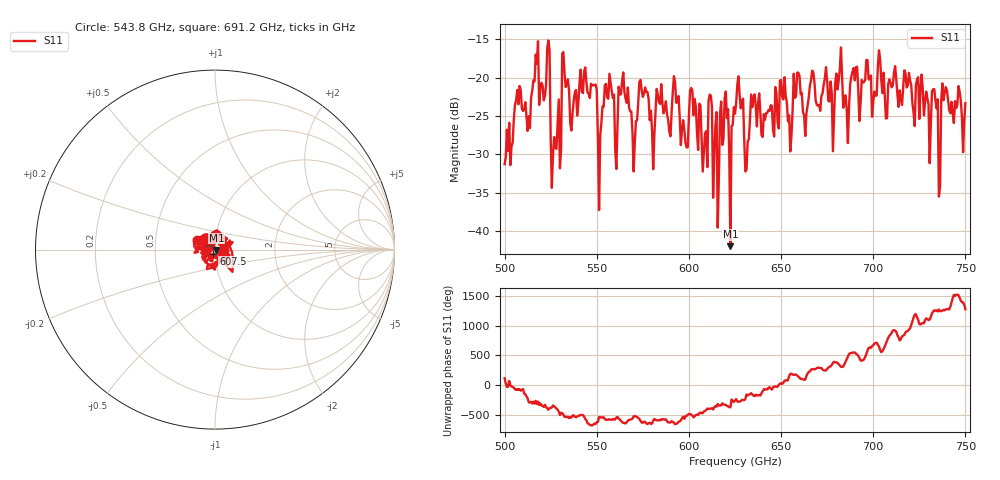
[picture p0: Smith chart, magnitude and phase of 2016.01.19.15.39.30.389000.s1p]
!Created with skrf (http://scikit-rf.org).
# GHz S RI R 50.0
!freq ReS11 ImS11
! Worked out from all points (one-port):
!   401 points, 500 GHz to 750 GHz, reference 50 ohm
!   lowest |S11| = -42.0 dB at 622.5 GHz (marker M1), VSWR 1.02, Z = 50.8 - j0.182 ohm
!   |S11| at or under -10 dB: start of sweep to end of sweep
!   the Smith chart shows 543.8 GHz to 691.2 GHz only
!   S11 on the Smith chart (normalised r, x): 543.8 GHz: 0.81, +0.09; 607.5 GHz: 0.98, -0.05; 691.2 GHz: 0.80, +0.08
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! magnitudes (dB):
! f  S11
! 500 GHz  -31.3
! 516.9 GHz  -17.0
! 523.1 GHz  -16.2
! 526.9 GHz  -27.7
! 531.2 GHz  -16.9
! 543.8 GHz  -18.6
! 551.9 GHz  -27.5
! 555.6 GHz  -22.5
! 562.5 GHz  -22.2
! 570.6 GHz  -28.5
! 574.4 GHz  -21.7
! 580 GHz  -26.8
! 593.8 GHz  -23.1
! 607.5 GHz  -32.2
! 611.2 GHz  -22.2
! 614.4 GHz  -26.3
! 620 GHz  -21.8
! 622.5 GHz  -42.0
! 625 GHz  -24.7
! 631.2 GHz  -32.0
! 635 GHz  -22.8
! 656.2 GHz  -24.3
! 687.5 GHz  -20.8
! 691.2 GHz  -18.6
! 718.8 GHz  -21.0
! 735 GHz  -22.8
! 738.8 GHz  -22.0
! 750 GHz  -23.3
